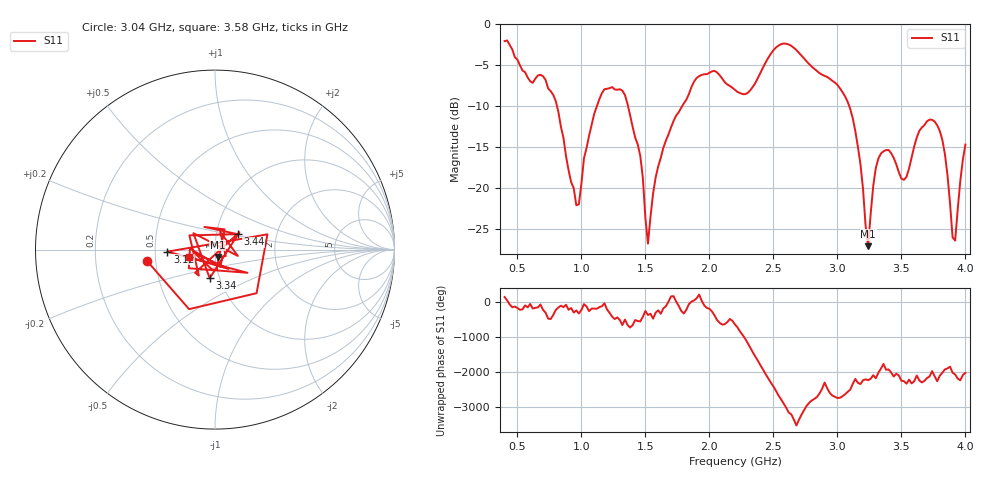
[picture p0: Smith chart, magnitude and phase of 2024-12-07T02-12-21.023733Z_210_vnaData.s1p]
!Created with skrf (http://scikit-rf.org).
# Hz S RI R 50.0
!freq ReS11 ImS11
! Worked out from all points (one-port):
!   181 points, 400 MHz to 4 GHz, reference 50 ohm
!   lowest |S11| = -27.1 dB at 3.24 GHz (marker M1), VSWR 1.09, Z = 51.3 - j4.28 ohm
!   |S11| at or under -10 dB: 809 MHz to 1.121 GHz (312.2 MHz wide, 32.3 % of centre); 1.364 GHz to 1.788 GHz (423.9 MHz wide, 26.9 % of centre); 3.092 GHz to end of sweep
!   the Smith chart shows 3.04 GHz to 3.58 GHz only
!   S11 on the Smith chart (normalised r, x): 3.04 GHz: 0.45, -0.07; 3.12 GHz: 0.58, -0.01; 3.34 GHz: 0.90, -0.29; 3.44 GHz: 1.27, +0.22; 3.58 GHz: 0.74, -0.07
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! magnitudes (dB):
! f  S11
! 400 MHz  -2.1
! 720 MHz  -6.8
! 860 MHz  -13.9
! 980 MHz  -22.0
! 1.02 GHz  -16.4
! 1.14 GHz  -9.2
! 1.3 GHz  -7.9
! 1.46 GHz  -16.1
! 1.52 GHz  -26.8
! 1.6 GHz  -17.4
! 1.76 GHz  -10.8
! 1.94 GHz  -6.2
! 2.2 GHz  -8.0
! 2.66 GHz  -2.9
! 3.04 GHz  -8.3
! 3.1 GHz  -10.3
! 3.12 GHz  -11.5
! 3.24 GHz  -27.1
! 3.28 GHz  -19.8
! 3.34 GHz  -15.8
! 3.44 GHz  -16.3
! 3.56 GHz  -17.6
! 3.58 GHz  -16.3
! 3.78 GHz  -12.3
! 3.84 GHz  -15.9
! 3.9 GHz  -26.0
! 3.92 GHz  -26.4
! 4 GHz  -14.7
